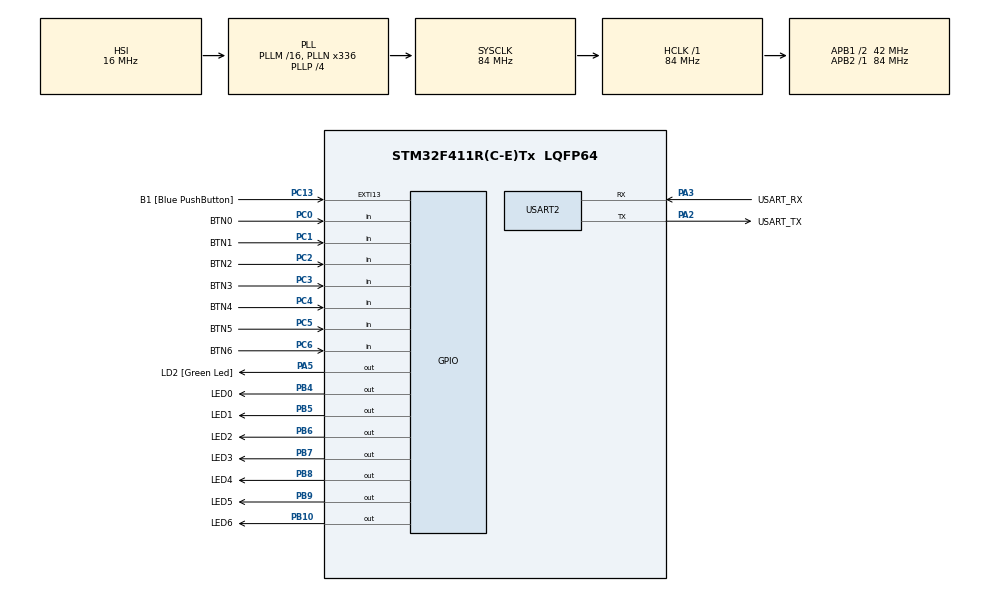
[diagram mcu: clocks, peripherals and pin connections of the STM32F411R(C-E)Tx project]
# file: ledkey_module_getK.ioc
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Mcu.Family=STM32F4
Mcu.Name=STM32F411R(C-E)Tx
Mcu.Package=LQFP64
NVIC.PriorityGroup=NVIC_PRIORITYGROUP_0
PA13.GPIO_Label=TMS
PA13.Mode=Serial_Wire
PA13.Signal=SYS_JTMS-SWDIO
PA14.GPIO_Label=TCK
PA14.Mode=Serial_Wire
PA14.Signal=SYS_JTCK-SWCLK
PA2.GPIO_Label=USART_TX
PA2.Mode=Asynchronous
PA2.Signal=USART2_TX
PA3.GPIO_Label=USART_RX
PA3.Mode=Asynchronous
PA3.Signal=USART2_RX
PA5.GPIO_Label=LD2 [Green Led]
PA5.Signal=GPIO_Output
PB10.GPIO_Label=LED6
PB10.Signal=GPIO_Output
PB3.GPIO_Label=SWO
PB3.Signal=SYS_JTDO-SWO
PB4.GPIO_Label=LED0
PB4.Signal=GPIO_Output
PB5.GPIO_Label=LED1
PB5.Signal=GPIO_Output
PB6.GPIO_Label=LED2
PB6.Signal=GPIO_Output
PB7.GPIO_Label=LED3
PB7.Signal=GPIO_Output
PB8.GPIO_Label=LED4
PB8.Signal=GPIO_Output
PB9.GPIO_Label=LED5
PB9.Signal=GPIO_Output
PC0.GPIO_Label=BTN0
PC0.Signal=GPIO_Input
PC1.GPIO_Label=BTN1
PC1.Signal=GPIO_Input
PC13-ANTI_TAMP.GPIO_Label=B1 [Blue PushButton]
PC13-ANTI_TAMP.GPIO_ModeDefaultEXTI=GPIO_MODE_IT_FALLING
PC13-ANTI_TAMP.Signal=GPXTI13
PC14-OSC32_IN.Signal=RCC_OSC32_IN
PC15-OSC32_OUT.Signal=RCC_OSC32_OUT
PC2.GPIO_Label=BTN2
PC2.Signal=GPIO_Input
PC3.GPIO_Label=BTN3
PC3.Signal=GPIO_Input
PC4.GPIO_Label=BTN4
PC4.Signal=GPIO_Input
PC5.GPIO_Label=BTN5
PC5.Signal=GPIO_Input
PC6.GPIO_Label=BTN6
PC6.Signal=GPIO_Input
PH0\ -\ OSC_IN.Signal=RCC_OSC_IN
PH1\ -\ OSC_OUT.Signal=RCC_OSC_OUT
ProjectManager.HeapSize=0x200
ProjectManager.StackSize=0x400
ProjectManager.TargetToolchain=STM32CubeIDE
RCC.48MHZClocksFreq_Value=84000000
RCC.AHBFreq_Value=84000000
RCC.APB1CLKDivider=RCC_HCLK_DIV2
RCC.APB1Freq_Value=42000000
RCC.APB1TimFreq_Value=84000000
RCC.APB2Freq_Value=84000000
RCC.APB2TimFreq_Value=84000000
RCC.CortexFreq_Value=84000000
RCC.FLatency-AdvancedSettings=FLASH_LATENCY_2
RCC.HCLKFreq_Value=84000000
RCC.HSE_VALUE=8000000
RCC.HSI_VALUE=16000000
RCC.PLLN=336
RCC.PLLP=RCC_PLLP_DIV4
RCC.SYSCLKFreq_VALUE=84000000
RCC.SYSCLKSource=RCC_SYSCLKSOURCE_PLLCLK
RCC.VCOOutputFreq_Value=336000000
USART2.VirtualMode=VM_ASYNC
board=NUCLEO-F411RE

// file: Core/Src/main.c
/* USER CODE BEGIN Header */
/**
  ******************************************************************************
  * @file           : main.c
  * @brief          : Main program body
  ******************************************************************************
  * @attention
  *
  * Copyright (c) 2025 STMicroelectronics.
  * All rights reserved.
  *
  * This software is licensed under terms that can be found in the LICENSE file
  * in the root directory of this software component.
  * If no LICENSE file comes with this software, it is provided AS-IS.
  *
  ******************************************************************************
  */
/* USER CODE END Header */
#include "main.h"

/* USER CODE BEGIN Includes */
#include <stdio.h>
/* USER CODE END Includes */

/* USER CODE BEGIN PTD */
#define LOW 0
#define HIGH 1
/* USER CODE END PTD */

/* USER CODE BEGIN PD */
#ifdef __GNUC__
/* With GCC, small printf (option LD Linker->Libraries->Small printf
   set to 'Yes') calls __io_putchar() */
#define PUTCHAR_PROTOTYPE int __io_putchar(int ch)
#else
#define PUTCHAR_PROTOTYPE int fputc(int ch, FILE *f)
#endif /* __GNUC__ */

/* USER CODE END PD */

UART_HandleTypeDef huart2;

void SystemClock_Config(void);
static void MX_GPIO_Init(void);
static void MX_USART2_UART_Init(void);
int getKeyNum();

int main(void)
{

  /* USER CODE BEGIN 1 */
//	int buttonState[7] = {0};
//	int buttonStateOld[7] = {0};
//	int buttonFlag = 0;
	int cnt = 0;
	int keyNum;
  /* USER CODE END 1 */

  /* MCU Configuration--------------------------------------------------------*/

  /* Reset of all peripherals, Initializes the Flash interface and the Systick. */
  HAL_Init();

  /* Configure the system clock */
  SystemClock_Config();

  /* Initialize all configured peripherals */
  MX_GPIO_Init();
  MX_USART2_UART_Init();
  /* USER CODE BEGIN 2 */
  printf("main() start!! \r\n");
  /* USER CODE END 2 */

  /* Infinite loop */
  /* USER CODE BEGIN WHILE */
  while (1)
  {
	  keyNum = getKeyNum();
	  if(key != 0)
	  {
		  printf("keyNum : %d, cnt : %d \r\n", keyNum, cnt++);
		  HAL_GPIO_TogglePin(LED_GPIO_Port, keyNum-1);
	  }
#if 0
	  for (int i=0; i<7; i++)
	  {
		  GPIOB -> BSRR = 0x10<<i;
		  HAL_Delay(100);
		  GPIOB -> BSRR = 0x10<<(16+i);
		  HAL_Delay(100);
	  }
#endif

    /* USER CODE END WHILE */

  }
}

void SystemClock_Config(void)
{
  RCC_OscInitTypeDef RCC_OscInitStruct = {0};
  RCC_ClkInitTypeDef RCC_ClkInitStruct = {0};

  /** Configure the main internal regulator output voltage
  */
  __HAL_RCC_PWR_CLK_ENABLE();
  __HAL_PWR_VOLTAGESCALING_CONFIG(PWR_REGULATOR_VOLTAGE_SCALE1);

  /** Initializes the RCC Oscillators according to the specified parameters
  * in the RCC_OscInitTypeDef structure.
  */
  RCC_OscInitStruct.OscillatorType = RCC_OSCILLATORTYPE_HSI;
  RCC_OscInitStruct.HSIState = RCC_HSI_ON;
  RCC_OscInitStruct.HSICalibrationValue = RCC_HSICALIBRATION_DEFAULT;
  RCC_OscInitStruct.PLL.PLLState = RCC_PLL_ON;
  RCC_OscInitStruct.PLL.PLLSource = RCC_PLLSOURCE_HSI;
  RCC_OscInitStruct.PLL.PLLM = 16;
  RCC_OscInitStruct.PLL.PLLN = 336;
  RCC_OscInitStruct.PLL.PLLP = RCC_PLLP_DIV4;
  RCC_OscInitStruct.PLL.PLLQ = 4;
  if (HAL_RCC_OscConfig(&RCC_OscInitStruct) != HAL_OK)
  {
    Error_Handler();
  }

  /** Initializes the CPU, AHB and APB buses clocks
  */
  RCC_ClkInitStruct.ClockType = RCC_CLOCKTYPE_HCLK|RCC_CLOCKTYPE_SYSCLK
                              |RCC_CLOCKTYPE_PCLK1|RCC_CLOCKTYPE_PCLK2;
  RCC_ClkInitStruct.SYSCLKSource = RCC_SYSCLKSOURCE_PLLCLK;
  RCC_ClkInitStruct.AHBCLKDivider = RCC_SYSCLK_DIV1;
  RCC_ClkInitStruct.APB1CLKDivider = RCC_HCLK_DIV2;
  RCC_ClkInitStruct.APB2CLKDivider = RCC_HCLK_DIV1;

  if (HAL_RCC_ClockConfig(&RCC_ClkInitStruct, FLASH_LATENCY_2) != HAL_OK)
  {
    Error_Handler();
  }
}

static void MX_USART2_UART_Init(void)
{

  huart2.Instance = USART2;
  huart2.Init.BaudRate = 115200;
  huart2.Init.WordLength = UART_WORDLENGTH_8B;
  huart2.Init.StopBits = UART_STOPBITS_1;
  huart2.Init.Parity = UART_PARITY_NONE;
  huart2.Init.Mode = UART_MODE_TX_RX;
  huart2.Init.HwFlowCtl = UART_HWCONTROL_NONE;
  huart2.Init.OverSampling = UART_OVERSAMPLING_16;
  if (HAL_UART_Init(&huart2) != HAL_OK)
  {
    Error_Handler();
  }

}

static void MX_GPIO_Init(void)
{
  GPIO_InitTypeDef GPIO_InitStruct = {0};

  /* GPIO Ports Clock Enable */
  __HAL_RCC_GPIOC_CLK_ENABLE();
  __HAL_RCC_GPIOH_CLK_ENABLE();
  __HAL_RCC_GPIOA_CLK_ENABLE();
  __HAL_RCC_GPIOB_CLK_ENABLE();

  /*Configure GPIO pin Output Level */
  HAL_GPIO_WritePin(LD2_GPIO_Port, LD2_Pin, GPIO_PIN_RESET);

  /*Configure GPIO pin Output Level */
  HAL_GPIO_WritePin(GPIOB, LED6_Pin|LED0_Pin|LED1_Pin|LED2_Pin
                          |LED3_Pin|LED4_Pin|LED5_Pin, GPIO_PIN_RESET);

  /*Configure GPIO pin : B1_Pin */
  GPIO_InitStruct.Pin = B1_Pin;
  GPIO_InitStruct.Mode = GPIO_MODE_IT_FALLING;
  GPIO_InitStruct.Pull = GPIO_NOPULL;
  HAL_GPIO_Init(B1_GPIO_Port, &GPIO_InitStruct);

  /*Configure GPIO pins : BTN0_Pin BTN1_Pin BTN2_Pin BTN3_Pin
                           BTN4_Pin BTN5_Pin BTN6_Pin */
  GPIO_InitStruct.Pin = BTN0_Pin|BTN1_Pin|BTN2_Pin|BTN3_Pin
                          |BTN4_Pin|BTN5_Pin|BTN6_Pin;
  GPIO_InitStruct.Mode = GPIO_MODE_INPUT;
  GPIO_InitStruct.Pull = GPIO_NOPULL;
  HAL_GPIO_Init(GPIOC, &GPIO_InitStruct);

  /*Configure GPIO pin : LD2_Pin */
  GPIO_InitStruct.Pin = LD2_Pin;
  GPIO_InitStruct.Mode = GPIO_MODE_OUTPUT_PP;
  GPIO_InitStruct.Pull = GPIO_NOPULL;
  GPIO_InitStruct.Speed = GPIO_SPEED_FREQ_LOW;
  HAL_GPIO_Init(LD2_GPIO_Port, &GPIO_InitStruct);

  /*Configure GPIO pins : LED6_Pin LED0_Pin LED1_Pin LED2_Pin
                           LED3_Pin LED4_Pin LED5_Pin */
  GPIO_InitStruct.Pin = LED6_Pin|LED0_Pin|LED1_Pin|LED2_Pin
                          |LED3_Pin|LED4_Pin|LED5_Pin;
  GPIO_InitStruct.Mode = GPIO_MODE_OUTPUT_PP;
  GPIO_InitStruct.Pull = GPIO_NOPULL;
  GPIO_InitStruct.Speed = GPIO_SPEED_FREQ_LOW;
  HAL_GPIO_Init(GPIOB, &GPIO_InitStruct);

}

/* USER CODE BEGIN 4 */
/**
  * @brief  Retargets the C library printf function to the USART.
  * @param  None
  * @retval None
  */
PUTCHAR_PROTOTYPE
{
  /* Place your implementation of fputc here */
  /* e.g. write a character to the USART6 and Loop until the end of transmission */
  HAL_UART_Transmit(&huart2, (uint8_t *)&ch, 1, 0xFFFF);

  return ch;
}

int getKeyNum()
{
	int buttonState = 0;
	for (int i=0; i<7; i++)
	{
		  buttonState = HAL_GPIO_ReadPin(BTN_GPIO_Port, BTN0_Pin<<i);
		  if(buttonState)
		  {
			  return i+1;
		  }
		  return buttonState;
/*		  if(buttonState[i] != buttonStateOld[i])   //버턴의 상태가 변경시
		  {
			  if(buttonState[i])   //버턴이 On일때
			  {
			  }
			  buttonStateOld[i] = buttonState[i];
		  }
*/
	}
}

/* USER CODE END 4 */

void Error_Handler(void)
{
  __disable_irq();
  while (1)
  {
  }
}
